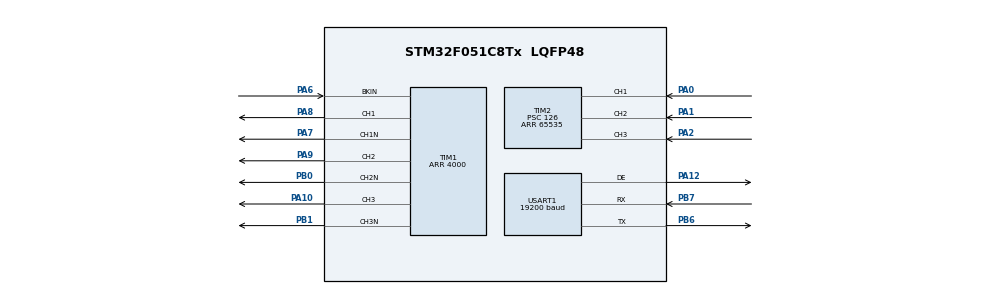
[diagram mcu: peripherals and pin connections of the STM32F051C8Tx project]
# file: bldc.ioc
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Mcu.Family=STM32F0
Mcu.Name=STM32F051C8Tx
Mcu.Package=LQFP48
NVIC.TIM1_BRK_UP_TRG_COM_IRQn=true\:0\:0\:false\:false\:true\:true\:true
NVIC.TIM2_IRQn=true\:0\:0\:false\:false\:true\:true\:true
NVIC.USART1_IRQn=true\:0\:0\:false\:false\:true\:true\:true
PA0.GPIO_PuPd=GPIO_PULLUP
PA0.Signal=S_TIM2_CH1_ETR
PA1.GPIO_PuPd=GPIO_PULLUP
PA1.Signal=S_TIM2_CH2
PA10.Signal=S_TIM1_CH3
PA12.GPIO_PuPd=GPIO_PULLUP
PA12.Mode=Hardware Flow Control (RS485)
PA12.Signal=USART1_DE
PA13.Mode=Serial_Wire
PA13.Signal=SYS_SWDIO
PA14.Mode=Serial_Wire
PA14.Signal=SYS_SWCLK
PA2.GPIO_PuPd=GPIO_PULLUP
PA2.Signal=S_TIM2_CH3
PA6.Mode=Activate-Break-Input
PA6.Signal=TIM1_BKIN
PA7.Mode=Output Compare1 CH1 CH1N
PA7.Signal=TIM1_CH1N
PA8.Signal=S_TIM1_CH1
PA9.Signal=S_TIM1_CH2
PB0.Mode=Output Compare2 CH2 CH2N
PB0.Signal=TIM1_CH2N
PB1.Mode=Output Compare3 CH3 CH3N
PB1.Signal=TIM1_CH3N
PB6.Mode=Asynchronous
PB6.Signal=USART1_TX
PB7.Mode=Asynchronous
PB7.Signal=USART1_RX
PF0-OSC_IN.Mode=HSE-External-Oscillator
PF0-OSC_IN.Signal=RCC_OSC_IN
PF1-OSC_OUT.Mode=HSE-External-Oscillator
PF1-OSC_OUT.Signal=RCC_OSC_OUT
ProjectManager.HeapSize=0x200
ProjectManager.StackSize=0x400
ProjectManager.TargetToolchain=Other Toolchains (GPDSC)
RCC.AHBFreq_Value=48000000
RCC.APB1Freq_Value=48000000
RCC.APB1TimFreq_Value=48000000
RCC.HCLKFreq_Value=48000000
RCC.PLLMUL=RCC_PLL_MUL6
RCC.PLLSourceVirtual=RCC_PLLSOURCE_HSE
RCC.SYSCLKFreq_VALUE=48000000
RCC.SYSCLKSource=RCC_SYSCLKSOURCE_PLLCLK
SH.S_TIM1_CH1.0=TIM1_CH1,Output Compare1 CH1 CH1N
SH.S_TIM1_CH2.0=TIM1_CH2,Output Compare2 CH2 CH2N
SH.S_TIM1_CH3.0=TIM1_CH3,Output Compare3 CH3 CH3N
SH.S_TIM2_CH1_ETR.0=TIM2_CH1,Xored_Inputs_Hall_Sensor_Interface
SH.S_TIM2_CH2.0=TIM2_CH2,Xored_Inputs_Hall_Sensor_Interface
SH.S_TIM2_CH3.0=TIM2_CH3,Xored_Inputs_Hall_Sensor_Interface
TIM1.AutomaticOutput=TIM_AUTOMATICOUTPUT_ENABLE
TIM1.BreakPolarity=TIM_BREAKPOLARITY_LOW
TIM1.Channel-Output\ Compare1\ CH1\ CH1N=TIM_CHANNEL_1
TIM1.Channel-Output\ Compare2\ CH2\ CH2N=TIM_CHANNEL_2
TIM1.Channel-Output\ Compare3\ CH3\ CH3N=TIM_CHANNEL_3
TIM1.DeadTime=7
TIM1.OCIdleState_1=TIM_OCIDLESTATE_SET
TIM1.OCIdleState_2=TIM_OCIDLESTATE_SET
TIM1.OCIdleState_3=TIM_OCIDLESTATE_SET
TIM1.OCNIdleState_1=TIM_OCNIDLESTATE_SET
TIM1.OCNIdleState_2=TIM_OCNIDLESTATE_SET
TIM1.OCNIdleState_3=TIM_OCNIDLESTATE_SET
TIM1.OffStateIDLEMode=TIM_OSSI_ENABLE
TIM1.OffStateRunMode=TIM_OSSR_ENABLE
TIM1.Period=4000
TIM2.IC1Filter=0x0F
TIM2.Period=65535
TIM2.Prescaler=126
USART1.BaudRate=19200
USART1.SwapParam=ADVFEATURE_SWAP_DISABLE
USART1.VirtualMode-Asynchronous=VM_ASYNC
USART1.VirtualMode-Hardware\ Flow\ Control\ (RS485)=VM_ASYNC
VP_TIM1_VS_ClockSourceINT.Mode=Internal
VP_TIM1_VS_ClockSourceITR.Mode=TriggerSource_ITR1
VP_TIM1_VS_ControllerModeReset.Mode=Reset Mode
VP_TIM2_VS_ClockSourceINT.Mode=Internal
board=template

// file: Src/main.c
/* USER CODE BEGIN Header */
/**
  ******************************************************************************
  * @file           : main.c
  * @brief          : Main program body
  ******************************************************************************
  * @attention
  *
  * <h2><center>&copy; Copyright (c) 2019 STMicroelectronics.
  * All rights reserved.</center></h2>
  *
  * This software component is licensed by ST under BSD 3-Clause license,
  * the "License"; You may not use this file except in compliance with the
  * License. You may obtain a copy of the License at:
  *                        opensource.org/licenses/BSD-3-Clause
  *
  ******************************************************************************
  */
/* USER CODE END Header */

#include "main.h"

/* USER CODE BEGIN PV */
const uint8_t BLDC_BRIDGE_STATE_VORWARD[8][6] =   // Motor step
{
   { RESET, RESET, RESET, RESET, RESET, RESET },  // 0
   { RESET, SET,   SET,   RESET, RESET, RESET },  // 2
   { RESET, RESET, RESET, SET,   SET,   RESET },  // 4
   { RESET, SET,   RESET, RESET, SET,   RESET },  // 3
   { SET,   RESET, RESET, RESET, RESET, SET   },  // 6
   { RESET, RESET, SET,   RESET, RESET, SET   },  // 1
   { SET,   RESET, RESET, SET,   RESET, RESET },  // 5
   { RESET, RESET, RESET, RESET, RESET, RESET },  // 0
};
/* USER CODE END PV */

void SystemClock_Config(void);
static void MX_GPIO_Init(void);
static void MX_TIM1_Init(void);
static void MX_TIM2_Init(void);
static void MX_USART1_UART_Init(void);
/* USER CODE BEGIN PFP */
static void enableHallCommutateSignal();
static void disableHallCommutateSignal();
static void incCommutationDelay(void);
static void decCommutationDelay(void);
/* USER CODE END PFP */

int main(void)
{

  /* MCU Configuration--------------------------------------------------------*/

  /* Reset of all peripherals, Initializes the Flash interface and the Systick. */

  LL_APB1_GRP2_EnableClock(LL_APB1_GRP2_PERIPH_SYSCFG);
  LL_APB1_GRP1_EnableClock(LL_APB1_GRP1_PERIPH_PWR);

  /* System interrupt init*/

  /* Configure the system clock */
  SystemClock_Config();

  /* USER CODE BEGIN SysInit */
  SysTick_Config(SystemCoreClock/1000);
  /* USER CODE END SysInit */

  /* Initialize all configured peripherals */
  MX_GPIO_Init();
  MX_TIM1_Init();
  MX_TIM2_Init();
  MX_USART1_UART_Init();
  /* USER CODE BEGIN 2 */

  LL_TIM_EnableIT_COM(TIM1);
  LL_TIM_EnableIT_BRK(TIM1);

  LL_TIM_EnableCounter(TIM1);
  LL_TIM_EnableAllOutputs(TIM1);

  LL_TIM_EnableIT_COM(TIM2);
  LL_TIM_EnableCounter(TIM2);

  /* USER CODE END 2 */

  /* Infinite loop */
  while (1)
  {

  }
}

void SystemClock_Config(void)
{
  LL_FLASH_SetLatency(LL_FLASH_LATENCY_1);

  if(LL_FLASH_GetLatency() != LL_FLASH_LATENCY_1)
  {
  Error_Handler();
  }
  LL_RCC_HSE_Enable();

   /* Wait till HSE is ready */
  while(LL_RCC_HSE_IsReady() != 1)
  {

  }
  LL_RCC_PLL_ConfigDomain_SYS(LL_RCC_PLLSOURCE_HSE_DIV_1, LL_RCC_PLL_MUL_6);
  LL_RCC_PLL_Enable();

   /* Wait till PLL is ready */
  while(LL_RCC_PLL_IsReady() != 1)
  {

  }
  LL_RCC_SetAHBPrescaler(LL_RCC_SYSCLK_DIV_1);
  LL_RCC_SetAPB1Prescaler(LL_RCC_APB1_DIV_1);
  LL_RCC_SetSysClkSource(LL_RCC_SYS_CLKSOURCE_PLL);

   /* Wait till System clock is ready */
  while(LL_RCC_GetSysClkSource() != LL_RCC_SYS_CLKSOURCE_STATUS_PLL)
  {

  }
  LL_Init1msTick(48000000);
  LL_SYSTICK_SetClkSource(LL_SYSTICK_CLKSOURCE_HCLK);
  LL_SetSystemCoreClock(48000000);
  LL_RCC_SetUSARTClockSource(LL_RCC_USART1_CLKSOURCE_PCLK1);
}

static void MX_TIM1_Init(void)
{

  LL_TIM_InitTypeDef TIM_InitStruct = {0};
  LL_TIM_OC_InitTypeDef TIM_OC_InitStruct = {0};
  LL_TIM_BDTR_InitTypeDef TIM_BDTRInitStruct = {0};

  LL_GPIO_InitTypeDef GPIO_InitStruct = {0};

  /* Peripheral clock enable */
  LL_APB1_GRP2_EnableClock(LL_APB1_GRP2_PERIPH_TIM1);

  LL_AHB1_GRP1_EnableClock(LL_AHB1_GRP1_PERIPH_GPIOA);
  /**TIM1 GPIO Configuration
  PA6   ------> TIM1_BKIN
  */
  GPIO_InitStruct.Pin = LL_GPIO_PIN_6;
  GPIO_InitStruct.Mode = LL_GPIO_MODE_ALTERNATE;
  GPIO_InitStruct.Speed = LL_GPIO_SPEED_FREQ_LOW;
  GPIO_InitStruct.OutputType = LL_GPIO_OUTPUT_PUSHPULL;
  GPIO_InitStruct.Pull = LL_GPIO_PULL_NO;
  GPIO_InitStruct.Alternate = LL_GPIO_AF_2;
  LL_GPIO_Init(GPIOA, &GPIO_InitStruct);

  /* TIM1 interrupt Init */
  NVIC_SetPriority(TIM1_BRK_UP_TRG_COM_IRQn, 0);
  NVIC_EnableIRQ(TIM1_BRK_UP_TRG_COM_IRQn);

  TIM_InitStruct.Prescaler = 0;
  TIM_InitStruct.CounterMode = LL_TIM_COUNTERMODE_UP;
  TIM_InitStruct.Autoreload = 4000;
  TIM_InitStruct.ClockDivision = LL_TIM_CLOCKDIVISION_DIV1;
  TIM_InitStruct.RepetitionCounter = 0;
  LL_TIM_Init(TIM1, &TIM_InitStruct);
  LL_TIM_DisableARRPreload(TIM1);
  LL_TIM_SetClockSource(TIM1, LL_TIM_CLOCKSOURCE_INTERNAL);
  TIM_OC_InitStruct.OCMode = LL_TIM_OCMODE_FROZEN;
  TIM_OC_InitStruct.OCState = LL_TIM_OCSTATE_DISABLE;
  TIM_OC_InitStruct.OCNState = LL_TIM_OCSTATE_DISABLE;
  TIM_OC_InitStruct.CompareValue = 0;
  TIM_OC_InitStruct.OCPolarity = LL_TIM_OCPOLARITY_HIGH;
  TIM_OC_InitStruct.OCNPolarity = LL_TIM_OCPOLARITY_HIGH;
  TIM_OC_InitStruct.OCIdleState = LL_TIM_OCIDLESTATE_HIGH;
  TIM_OC_InitStruct.OCNIdleState = LL_TIM_OCIDLESTATE_HIGH;
  LL_TIM_OC_Init(TIM1, LL_TIM_CHANNEL_CH1, &TIM_OC_InitStruct);
  LL_TIM_OC_DisableFast(TIM1, LL_TIM_CHANNEL_CH1);
  TIM_OC_InitStruct.OCState = LL_TIM_OCSTATE_DISABLE;
  TIM_OC_InitStruct.OCNState = LL_TIM_OCSTATE_DISABLE;
  LL_TIM_OC_Init(TIM1, LL_TIM_CHANNEL_CH2, &TIM_OC_InitStruct);
  LL_TIM_OC_DisableFast(TIM1, LL_TIM_CHANNEL_CH2);
  TIM_OC_InitStruct.OCState = LL_TIM_OCSTATE_DISABLE;
  TIM_OC_InitStruct.OCNState = LL_TIM_OCSTATE_DISABLE;
  LL_TIM_OC_Init(TIM1, LL_TIM_CHANNEL_CH3, &TIM_OC_InitStruct);
  LL_TIM_OC_DisableFast(TIM1, LL_TIM_CHANNEL_CH3);
  LL_TIM_SetTriggerInput(TIM1, LL_TIM_TS_ITR1);
  LL_TIM_SetSlaveMode(TIM1, LL_TIM_SLAVEMODE_RESET);
  LL_TIM_DisableIT_TRIG(TIM1);
  LL_TIM_DisableDMAReq_TRIG(TIM1);
  LL_TIM_SetTriggerOutput(TIM1, LL_TIM_TRGO_RESET);
  LL_TIM_DisableMasterSlaveMode(TIM1);
  TIM_BDTRInitStruct.OSSRState = LL_TIM_OSSR_ENABLE;
  TIM_BDTRInitStruct.OSSIState = LL_TIM_OSSI_ENABLE;
  TIM_BDTRInitStruct.LockLevel = LL_TIM_LOCKLEVEL_OFF;
  TIM_BDTRInitStruct.DeadTime = 7;
  TIM_BDTRInitStruct.BreakState = LL_TIM_BREAK_ENABLE;
  TIM_BDTRInitStruct.BreakPolarity = LL_TIM_BREAK_POLARITY_LOW;
  TIM_BDTRInitStruct.AutomaticOutput = LL_TIM_AUTOMATICOUTPUT_ENABLE;
  LL_TIM_BDTR_Init(TIM1, &TIM_BDTRInitStruct);
  LL_AHB1_GRP1_EnableClock(LL_AHB1_GRP1_PERIPH_GPIOA);
  LL_AHB1_GRP1_EnableClock(LL_AHB1_GRP1_PERIPH_GPIOB);
  /**TIM1 GPIO Configuration
  PA7   ------> TIM1_CH1N
  PB0   ------> TIM1_CH2N
  PB1   ------> TIM1_CH3N
  PA8   ------> TIM1_CH1
  PA9   ------> TIM1_CH2
  PA10   ------> TIM1_CH3
  */
  GPIO_InitStruct.Pin = LL_GPIO_PIN_7;
  GPIO_InitStruct.Mode = LL_GPIO_MODE_ALTERNATE;
  GPIO_InitStruct.Speed = LL_GPIO_SPEED_FREQ_LOW;
  GPIO_InitStruct.OutputType = LL_GPIO_OUTPUT_PUSHPULL;
  GPIO_InitStruct.Pull = LL_GPIO_PULL_NO;
  GPIO_InitStruct.Alternate = LL_GPIO_AF_2;
  LL_GPIO_Init(GPIOA, &GPIO_InitStruct);

  GPIO_InitStruct.Pin = LL_GPIO_PIN_0;
  GPIO_InitStruct.Mode = LL_GPIO_MODE_ALTERNATE;
  GPIO_InitStruct.Speed = LL_GPIO_SPEED_FREQ_LOW;
  GPIO_InitStruct.OutputType = LL_GPIO_OUTPUT_PUSHPULL;
  GPIO_InitStruct.Pull = LL_GPIO_PULL_NO;
  GPIO_InitStruct.Alternate = LL_GPIO_AF_2;
  LL_GPIO_Init(GPIOB, &GPIO_InitStruct);

  GPIO_InitStruct.Pin = LL_GPIO_PIN_1;
  GPIO_InitStruct.Mode = LL_GPIO_MODE_ALTERNATE;
  GPIO_InitStruct.Speed = LL_GPIO_SPEED_FREQ_LOW;
  GPIO_InitStruct.OutputType = LL_GPIO_OUTPUT_PUSHPULL;
  GPIO_InitStruct.Pull = LL_GPIO_PULL_NO;
  GPIO_InitStruct.Alternate = LL_GPIO_AF_2;
  LL_GPIO_Init(GPIOB, &GPIO_InitStruct);

  GPIO_InitStruct.Pin = LL_GPIO_PIN_8;
  GPIO_InitStruct.Mode = LL_GPIO_MODE_ALTERNATE;
  GPIO_InitStruct.Speed = LL_GPIO_SPEED_FREQ_LOW;
  GPIO_InitStruct.OutputType = LL_GPIO_OUTPUT_PUSHPULL;
  GPIO_InitStruct.Pull = LL_GPIO_PULL_NO;
  GPIO_InitStruct.Alternate = LL_GPIO_AF_2;
  LL_GPIO_Init(GPIOA, &GPIO_InitStruct);

  GPIO_InitStruct.Pin = LL_GPIO_PIN_9;
  GPIO_InitStruct.Mode = LL_GPIO_MODE_ALTERNATE;
  GPIO_InitStruct.Speed = LL_GPIO_SPEED_FREQ_LOW;
  GPIO_InitStruct.OutputType = LL_GPIO_OUTPUT_PUSHPULL;
  GPIO_InitStruct.Pull = LL_GPIO_PULL_NO;
  GPIO_InitStruct.Alternate = LL_GPIO_AF_2;
  LL_GPIO_Init(GPIOA, &GPIO_InitStruct);

  GPIO_InitStruct.Pin = LL_GPIO_PIN_10;
  GPIO_InitStruct.Mode = LL_GPIO_MODE_ALTERNATE;
  GPIO_InitStruct.Speed = LL_GPIO_SPEED_FREQ_LOW;
  GPIO_InitStruct.OutputType = LL_GPIO_OUTPUT_PUSHPULL;
  GPIO_InitStruct.Pull = LL_GPIO_PULL_NO;
  GPIO_InitStruct.Alternate = LL_GPIO_AF_2;
  LL_GPIO_Init(GPIOA, &GPIO_InitStruct);

}

static void MX_TIM2_Init(void)
{

  LL_TIM_InitTypeDef TIM_InitStruct = {0};
  LL_TIM_OC_InitTypeDef TIM_OC_InitStruct = {0};

  LL_GPIO_InitTypeDef GPIO_InitStruct = {0};

  /* Peripheral clock enable */
  LL_APB1_GRP1_EnableClock(LL_APB1_GRP1_PERIPH_TIM2);

  LL_AHB1_GRP1_EnableClock(LL_AHB1_GRP1_PERIPH_GPIOA);
  /**TIM2 GPIO Configuration
  PA0   ------> TIM2_CH1
  PA1   ------> TIM2_CH2
  PA2   ------> TIM2_CH3
  */
  GPIO_InitStruct.Pin = LL_GPIO_PIN_0;
  GPIO_InitStruct.Mode = LL_GPIO_MODE_ALTERNATE;
  GPIO_InitStruct.Speed = LL_GPIO_SPEED_FREQ_LOW;
  GPIO_InitStruct.OutputType = LL_GPIO_OUTPUT_PUSHPULL;
  GPIO_InitStruct.Pull = LL_GPIO_PULL_UP;
  GPIO_InitStruct.Alternate = LL_GPIO_AF_2;
  LL_GPIO_Init(GPIOA, &GPIO_InitStruct);

  GPIO_InitStruct.Pin = LL_GPIO_PIN_1;
  GPIO_InitStruct.Mode = LL_GPIO_MODE_ALTERNATE;
  GPIO_InitStruct.Speed = LL_GPIO_SPEED_FREQ_LOW;
  GPIO_InitStruct.OutputType = LL_GPIO_OUTPUT_PUSHPULL;
  GPIO_InitStruct.Pull = LL_GPIO_PULL_UP;
  GPIO_InitStruct.Alternate = LL_GPIO_AF_2;
  LL_GPIO_Init(GPIOA, &GPIO_InitStruct);

  GPIO_InitStruct.Pin = LL_GPIO_PIN_2;
  GPIO_InitStruct.Mode = LL_GPIO_MODE_ALTERNATE;
  GPIO_InitStruct.Speed = LL_GPIO_SPEED_FREQ_LOW;
  GPIO_InitStruct.OutputType = LL_GPIO_OUTPUT_PUSHPULL;
  GPIO_InitStruct.Pull = LL_GPIO_PULL_UP;
  GPIO_InitStruct.Alternate = LL_GPIO_AF_2;
  LL_GPIO_Init(GPIOA, &GPIO_InitStruct);

  /* TIM2 interrupt Init */
  NVIC_SetPriority(TIM2_IRQn, 0);
  NVIC_EnableIRQ(TIM2_IRQn);

  TIM_InitStruct.Prescaler = 126;
  TIM_InitStruct.CounterMode = LL_TIM_COUNTERMODE_UP;
  TIM_InitStruct.Autoreload = 65535;
  TIM_InitStruct.ClockDivision = LL_TIM_CLOCKDIVISION_DIV1;
  LL_TIM_Init(TIM2, &TIM_InitStruct);
  LL_TIM_DisableARRPreload(TIM2);
  LL_TIM_SetClockSource(TIM2, LL_TIM_CLOCKSOURCE_INTERNAL);
  LL_TIM_CC_DisableChannel(TIM2, LL_TIM_CHANNEL_CH1 | LL_TIM_CHANNEL_CH2);
  LL_TIM_IC_SetActiveInput(TIM2, LL_TIM_CHANNEL_CH1, LL_TIM_ACTIVEINPUT_TRC);
  LL_TIM_IC_SetPrescaler(TIM2, LL_TIM_CHANNEL_CH1, LL_TIM_ICPSC_DIV1);
  LL_TIM_IC_SetFilter(TIM2, LL_TIM_CHANNEL_CH1, LL_TIM_IC_FILTER_FDIV32_N8);
  LL_TIM_IC_SetPolarity(TIM2, LL_TIM_CHANNEL_CH1, LL_TIM_IC_POLARITY_RISING);
  LL_TIM_IC_EnableXORCombination(TIM2);
  LL_TIM_SetTriggerInput(TIM2, LL_TIM_TS_TI1F_ED);
  LL_TIM_SetSlaveMode(TIM2, LL_TIM_SLAVEMODE_RESET);
  TIM_OC_InitStruct.OCMode = LL_TIM_OCMODE_PWM2;
  TIM_OC_InitStruct.OCState = LL_TIM_OCSTATE_DISABLE;
  TIM_OC_InitStruct.OCNState = LL_TIM_OCSTATE_DISABLE;
  TIM_OC_InitStruct.CompareValue = 0;
  TIM_OC_InitStruct.OCPolarity = LL_TIM_OCPOLARITY_HIGH;
  TIM_OC_InitStruct.OCNPolarity = LL_TIM_OCPOLARITY_HIGH;
  TIM_OC_InitStruct.OCIdleState = LL_TIM_OCIDLESTATE_LOW;
  TIM_OC_InitStruct.OCNIdleState = LL_TIM_OCIDLESTATE_LOW;

  LL_TIM_OC_Init(TIM2, LL_TIM_CHANNEL_CH2, &TIM_OC_InitStruct);
  LL_TIM_OC_DisableFast(TIM2, LL_TIM_CHANNEL_CH2);
  LL_TIM_SetTriggerOutput(TIM2, LL_TIM_TRGO_OC2REF);
  LL_TIM_DisableMasterSlaveMode(TIM2);

}

static void MX_USART1_UART_Init(void)
{

  LL_USART_InitTypeDef USART_InitStruct = {0};

  LL_GPIO_InitTypeDef GPIO_InitStruct = {0};

  /* Peripheral clock enable */
  LL_APB1_GRP2_EnableClock(LL_APB1_GRP2_PERIPH_USART1);

  LL_AHB1_GRP1_EnableClock(LL_AHB1_GRP1_PERIPH_GPIOA);
  LL_AHB1_GRP1_EnableClock(LL_AHB1_GRP1_PERIPH_GPIOB);
  /**USART1 GPIO Configuration
  PA12   ------> USART1_DE
  PB6   ------> USART1_TX
  PB7   ------> USART1_RX
  */
  GPIO_InitStruct.Pin = LL_GPIO_PIN_12;
  GPIO_InitStruct.Mode = LL_GPIO_MODE_ALTERNATE;
  GPIO_InitStruct.Speed = LL_GPIO_SPEED_FREQ_HIGH;
  GPIO_InitStruct.OutputType = LL_GPIO_OUTPUT_PUSHPULL;
  GPIO_InitStruct.Pull = LL_GPIO_PULL_UP;
  GPIO_InitStruct.Alternate = LL_GPIO_AF_1;
  LL_GPIO_Init(GPIOA, &GPIO_InitStruct);

  GPIO_InitStruct.Pin = LL_GPIO_PIN_6;
  GPIO_InitStruct.Mode = LL_GPIO_MODE_ALTERNATE;
  GPIO_InitStruct.Speed = LL_GPIO_SPEED_FREQ_HIGH;
  GPIO_InitStruct.OutputType = LL_GPIO_OUTPUT_PUSHPULL;
  GPIO_InitStruct.Pull = LL_GPIO_PULL_NO;
  GPIO_InitStruct.Alternate = LL_GPIO_AF_0;
  LL_GPIO_Init(GPIOB, &GPIO_InitStruct);

  GPIO_InitStruct.Pin = LL_GPIO_PIN_7;
  GPIO_InitStruct.Mode = LL_GPIO_MODE_ALTERNATE;
  GPIO_InitStruct.Speed = LL_GPIO_SPEED_FREQ_HIGH;
  GPIO_InitStruct.OutputType = LL_GPIO_OUTPUT_PUSHPULL;
  GPIO_InitStruct.Pull = LL_GPIO_PULL_NO;
  GPIO_InitStruct.Alternate = LL_GPIO_AF_0;
  LL_GPIO_Init(GPIOB, &GPIO_InitStruct);

  /* USART1 interrupt Init */
  NVIC_SetPriority(USART1_IRQn, 0);
  NVIC_EnableIRQ(USART1_IRQn);

  USART_InitStruct.BaudRate = 19200;
  USART_InitStruct.DataWidth = LL_USART_DATAWIDTH_8B;
  USART_InitStruct.StopBits = LL_USART_STOPBITS_1;
  USART_InitStruct.Parity = LL_USART_PARITY_NONE;
  USART_InitStruct.TransferDirection = LL_USART_DIRECTION_TX_RX;
  USART_InitStruct.HardwareFlowControl = LL_USART_HWCONTROL_NONE;
  USART_InitStruct.OverSampling = LL_USART_OVERSAMPLING_16;
  LL_USART_Init(USART1, &USART_InitStruct);
  LL_USART_EnableDEMode(USART1);
  LL_USART_SetDESignalPolarity(USART1, LL_USART_DE_POLARITY_HIGH);
  LL_USART_SetDEAssertionTime(USART1, 0);
  LL_USART_SetDEDeassertionTime(USART1, 0);
  LL_USART_ConfigAsyncMode(USART1);
  LL_USART_Enable(USART1);

}

static void MX_GPIO_Init(void)
{

  /* GPIO Ports Clock Enable */
  LL_AHB1_GRP1_EnableClock(LL_AHB1_GRP1_PERIPH_GPIOF);
  LL_AHB1_GRP1_EnableClock(LL_AHB1_GRP1_PERIPH_GPIOA);
  LL_AHB1_GRP1_EnableClock(LL_AHB1_GRP1_PERIPH_GPIOB);

}

/* USER CODE BEGIN 4 */

// enable the connection between HallTimer and MotorTimer
static void enableHallCommutateSignal() {
   //TIM_SelectCOM(TIM1, ENABLE);
   TIM1->CR2 |= TIM_CR2_CCUS;
}

// disable the connection between HallTimer and MotorTimer
static void disableHallCommutateSignal() {
   //TIM_SelectCOM(TIM1, DISABLE);
   TIM1->CR2 &= (uint16_t)~TIM_CR2_CCUS;
}

static void incCommutationDelay(void) {
  TIM2->CCR2 = (TIM2->CCR2) + 1;
}

static void decCommutationDelay(void) {
  TIM2->CCR2 = (TIM2->CCR2) - 1;
}

/* USER CODE END 4 */

void Error_Handler(void)
{
}

/************************ (C) COPYRIGHT STMicroelectronics *****END OF FILE****/
